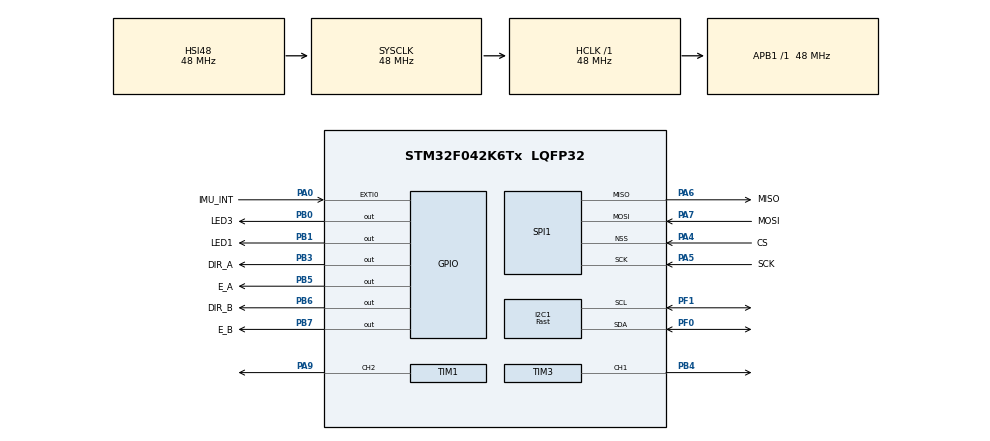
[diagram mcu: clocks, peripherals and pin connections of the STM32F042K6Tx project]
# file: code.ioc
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I2C1.I2C_Speed_Mode=I2C_Fast
I2C1.Timing=0x0000020B
Mcu.Family=STM32F0
Mcu.Name=STM32F042K6Tx
Mcu.Package=LQFP32
NVIC.EXTI0_1_IRQn=true\:1\:0\:true\:false\:true
NVIC.PVD_VDDIO2_IRQn=true\:0\:0\:false\:false\:true
NVIC.SPI1_IRQn=true\:0\:0\:true\:false\:true
PA0.GPIO_Label=IMU_INT
PA0.Signal=GPXTI0
PA13.Mode=Serial_Wire
PA13.Signal=SYS_SWDIO
PA14.Mode=Serial_Wire
PA14.Signal=SYS_SWCLK
PA4.GPIO_Label=CS
PA4.GPIO_PuPd=GPIO_PULLUP
PA4.Mode=NSS_Signal_Hard_Input
PA4.Signal=SPI1_NSS
PA5.GPIO_Label=SCK
PA5.GPIO_PuPd=GPIO_PULLUP
PA5.Mode=Full_Duplex_Slave
PA5.Signal=SPI1_SCK
PA6.GPIO_Label=MISO
PA6.Mode=Full_Duplex_Slave
PA6.Signal=SPI1_MISO
PA7.GPIO_Label=MOSI
PA7.Mode=Full_Duplex_Slave
PA7.Signal=SPI1_MOSI
PA9.Signal=S_TIM1_CH2
PB0.GPIO_Label=LED3
PB0.Signal=GPIO_Output
PB1.GPIO_Label=LED1
PB1.Signal=GPIO_Output
PB3.GPIO_Label=DIR_A
PB3.Signal=GPIO_Output
PB4.Signal=S_TIM3_CH1
PB5.GPIO_Label=E_A
PB5.Signal=GPIO_Output
PB6.GPIO_Label=DIR_B
PB6.Signal=GPIO_Output
PB7.GPIO_Label=E_B
PB7.Signal=GPIO_Output
PF0-OSC_IN.GPIO_PuPdOD=GPIO_NOPULL
PF0-OSC_IN.Mode=I2C
PF0-OSC_IN.Signal=I2C1_SDA
PF1-OSC_OUT.GPIO_PuPdOD=GPIO_NOPULL
PF1-OSC_OUT.Mode=I2C
PF1-OSC_OUT.Signal=I2C1_SCL
ProjectManager.HeapSize=0x200
ProjectManager.StackSize=0x400
ProjectManager.TargetToolchain=MDK-ARM V5
RCC.AHBFreq_Value=48000000
RCC.APB1Freq_Value=48000000
RCC.APB1TimFreq_Value=48000000
RCC.HCLKFreq_Value=48000000
RCC.SYSCLKFreq_VALUE=48000000
RCC.SYSCLKSource=RCC_SYSCLKSOURCE_HSI48
SH.S_TIM1_CH2.0=TIM1_CH2,PWM Generation2 CH2
SH.S_TIM3_CH1.0=TIM3_CH1,PWM Generation1 CH1
SPI1.DataSize=SPI_DATASIZE_8BIT
SPI1.VirtualNSS=VM_NSSHARD
SPI1.VirtualType=VM_SLAVE
TIM1.Channel-PWM\ Generation2\ CH2=TIM_CHANNEL_2
board=code

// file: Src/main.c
/**
  ******************************************************************************
  * File Name          : main.c
  * Description        : Main program body
  ******************************************************************************
  *
  * COPYRIGHT(c) 2016 STMicroelectronics
  *
  * Redistribution and use in source and binary forms, with or without modification,
  * are permitted provided that the following conditions are met:
  *   1. Redistributions of source code must retain the above copyright notice,
  *      this list of conditions and the following disclaimer.
  *   2. Redistributions in binary form must reproduce the above copyright notice,
  *      this list of conditions and the following disclaimer in the documentation
  *      and/or other materials provided with the distribution.
  *   3. Neither the name of STMicroelectronics nor the names of its contributors
  *      may be used to endorse or promote products derived from this software
  *      without specific prior written permission.
  *
  * THIS SOFTWARE IS PROVIDED BY THE COPYRIGHT HOLDERS AND CONTRIBUTORS "AS IS"
  * AND ANY EXPRESS OR IMPLIED WARRANTIES, INCLUDING, BUT NOT LIMITED TO, THE
  * IMPLIED WARRANTIES OF MERCHANTABILITY AND FITNESS FOR A PARTICULAR PURPOSE ARE
  * DISCLAIMED. IN NO EVENT SHALL THE COPYRIGHT HOLDER OR CONTRIBUTORS BE LIABLE
  * FOR ANY DIRECT, INDIRECT, INCIDENTAL, SPECIAL, EXEMPLARY, OR CONSEQUENTIAL
  * DAMAGES (INCLUDING, BUT NOT LIMITED TO, PROCUREMENT OF SUBSTITUTE GOODS OR
  * SERVICES; LOSS OF USE, DATA, OR PROFITS; OR BUSINESS INTERRUPTION) HOWEVER
  * CAUSED AND ON ANY THEORY OF LIABILITY, WHETHER IN CONTRACT, STRICT LIABILITY,
  * OR TORT (INCLUDING NEGLIGENCE OR OTHERWISE) ARISING IN ANY WAY OUT OF THE USE
  * OF THIS SOFTWARE, EVEN IF ADVISED OF THE POSSIBILITY OF SUCH DAMAGE.
  *
  ******************************************************************************
  */
#include "stm32f0xx_hal.h"

/* USER CODE BEGIN Includes */
#define calibation_mode           0
#define stabilize_mode           	1
#define Function_1_mode           2
#define Function_2_mode           3
/* USER CODE END Includes */

I2C_HandleTypeDef hi2c1;

SPI_HandleTypeDef hspi1;

TIM_HandleTypeDef htim1;
TIM_HandleTypeDef htim3;

/* USER CODE BEGIN PV */
/* Private variables ---------------------------------------------------------*/
uint8_t _function1_lock = 0;
uint8_t _function2_lock = 0;
#include "bs_drone_lib.h"
/* USER CODE END PV */

void SystemClock_Config(void);
void Error_Handler(void);
static void MX_GPIO_Init(void);
static void MX_I2C1_Init(void);
static void MX_TIM1_Init(void);
static void MX_TIM3_Init(void);
static void MX_SPI1_Init(void);

void HAL_TIM_MspPostInit(TIM_HandleTypeDef *htim);

/* USER CODE BEGIN PFP */
/* Private function prototypes -----------------------------------------------*/
static void PWMControl(float set_motor1, float set_motor2);
/* USER CODE END PFP */

/* USER CODE BEGIN 0 */
uint32_t time;
uint16_t x = 100;
uint16_t y1 = 1000;
uint16_t y2 = 1000;
uint16_t y_b1 ;
uint16_t y_b2 ;
float errSum, dErr, error, lastErr;
float r_angle, f_angle, output_pid;
float LOutput, ROutput;
float butA_motor = 0;
float motor_1,motor_2;
float mun_ref_t=0;
/* USER CODE END 0 */

int main(void)
{

  /* MCU Configuration----------------------------------------------------------*/

  /* Reset of all peripherals, Initializes the Flash interface and the Systick. */
  HAL_Init();

  /* Configure the system clock */
  SystemClock_Config();

  /* Initialize all configured peripherals */
  MX_GPIO_Init();
  MX_I2C1_Init();
  MX_TIM1_Init();
  MX_TIM3_Init();
  MX_SPI1_Init();

  /* USER CODE BEGIN 2 */
	HAL_TIM_PWM_Start(&htim1,TIM_CHANNEL_2);
	HAL_TIM_PWM_Start(&htim3,TIM_CHANNEL_1);
	HAL_GPIO_WritePin(GPIOB,LED1_Pin,GPIO_PIN_RESET);
	TIM1-> PSC = x;
	TIM3-> PSC = x;
  /* USER CODE END 2 */

  /* Infinite loop */
  /* USER CODE BEGIN WHILE */
		Initial_MPU6050();
		HAL_Delay(10);
		HAL_NVIC_EnableIRQ(EXTI0_1_IRQn);
		HAL_SPI_Receive_IT(&hspi1, (uint8_t*)(spi_rx_data + spi_rx_data_index), 1);
	HAL_GPIO_WritePin(GPIOB,DIR_A_Pin,GPIO_PIN_RESET);
	HAL_GPIO_WritePin(GPIOB,E_A_Pin,GPIO_PIN_RESET);
	HAL_Delay(5000);
	uint32_t time_now = milli();
	uint32_t watchdog_time_prev = time_now;
  while (1)
  {

  /* USER CODE END WHILE */

  /* USER CODE BEGIN 3 */
				time_now = milli();

    if (time_now - watchdog_time_prev >= 100)
		{
			watchdog_time_prev = time_now;
			HAL_GPIO_TogglePin(GPIOA,LED3_Pin);
		}

		if (_Sampling_task_do != 0)
		{
			_Sampling_task_do = 0;
			Read_MPU6050();
			AHRS();
			PID_controller();
			if(abs_user(q_roll)<300){
				HAL_GPIO_WritePin(GPIOB,E_A_Pin,GPIO_PIN_RESET);
				HAL_GPIO_WritePin(GPIOB,E_B_Pin,GPIO_PIN_RESET);
				butA_motor = constrain((butA_motor + Del_roll * period_dt), -300, 300);
				if(abs_user(ch1)<10){
					ch1 = 0;
				}
				if(abs_user((float)ch2/4.00f)>1.0f){
					motor_1 =butA_motor-((float)ch1/3.0f);
					motor_2 =butA_motor+((float)ch1/3.0f);
				}else{
					motor_1 =butA_motor;
					motor_2 =butA_motor;
				}
				PWMControl(constrain(motor_1/100.00f,-5.0f,5.00f),constrain(motor_2/100.00f,-5.0f,5.0f));
			}else{
				HAL_GPIO_WritePin(GPIOB,E_A_Pin,GPIO_PIN_SET);
				HAL_GPIO_WritePin(GPIOB,E_B_Pin,GPIO_PIN_SET);
				PWMControl(0.0f,0.0f);
			}
		}

  }
  /* USER CODE END 3 */

}

/** System Clock Configuration
*/
void SystemClock_Config(void)
{

  RCC_OscInitTypeDef RCC_OscInitStruct;
  RCC_ClkInitTypeDef RCC_ClkInitStruct;
  RCC_PeriphCLKInitTypeDef PeriphClkInit;

  RCC_OscInitStruct.OscillatorType = RCC_OSCILLATORTYPE_HSI|RCC_OSCILLATORTYPE_HSI48;
  RCC_OscInitStruct.HSIState = RCC_HSI_ON;
  RCC_OscInitStruct.HSI48State = RCC_HSI48_ON;
  RCC_OscInitStruct.HSICalibrationValue = 16;
  RCC_OscInitStruct.PLL.PLLState = RCC_PLL_NONE;
  if (HAL_RCC_OscConfig(&RCC_OscInitStruct) != HAL_OK)
  {
    Error_Handler();
  }

  RCC_ClkInitStruct.ClockType = RCC_CLOCKTYPE_HCLK|RCC_CLOCKTYPE_SYSCLK
                              |RCC_CLOCKTYPE_PCLK1;
  RCC_ClkInitStruct.SYSCLKSource = RCC_SYSCLKSOURCE_HSI48;
  RCC_ClkInitStruct.AHBCLKDivider = RCC_SYSCLK_DIV1;
  RCC_ClkInitStruct.APB1CLKDivider = RCC_HCLK_DIV1;
  if (HAL_RCC_ClockConfig(&RCC_ClkInitStruct, FLASH_LATENCY_1) != HAL_OK)
  {
    Error_Handler();
  }

  PeriphClkInit.PeriphClockSelection = RCC_PERIPHCLK_I2C1;
  PeriphClkInit.I2c1ClockSelection = RCC_I2C1CLKSOURCE_HSI;
  if (HAL_RCCEx_PeriphCLKConfig(&PeriphClkInit) != HAL_OK)
  {
    Error_Handler();
  }

  HAL_SYSTICK_Config(HAL_RCC_GetHCLKFreq()/1000);

  HAL_SYSTICK_CLKSourceConfig(SYSTICK_CLKSOURCE_HCLK);

  /* SysTick_IRQn interrupt configuration */
  HAL_NVIC_SetPriority(SysTick_IRQn, 0, 0);
}

/* I2C1 init function */
static void MX_I2C1_Init(void)
{

  hi2c1.Instance = I2C1;
  hi2c1.Init.Timing = 0x0000020B;
  hi2c1.Init.OwnAddress1 = 0;
  hi2c1.Init.AddressingMode = I2C_ADDRESSINGMODE_7BIT;
  hi2c1.Init.DualAddressMode = I2C_DUALADDRESS_DISABLE;
  hi2c1.Init.OwnAddress2 = 0;
  hi2c1.Init.OwnAddress2Masks = I2C_OA2_NOMASK;
  hi2c1.Init.GeneralCallMode = I2C_GENERALCALL_DISABLE;
  hi2c1.Init.NoStretchMode = I2C_NOSTRETCH_DISABLE;
  if (HAL_I2C_Init(&hi2c1) != HAL_OK)
  {
    Error_Handler();
  }

    /**Configure Analogue filter
    */
  if (HAL_I2CEx_ConfigAnalogFilter(&hi2c1, I2C_ANALOGFILTER_ENABLE) != HAL_OK)
  {
    Error_Handler();
  }

}

/* SPI1 init function */
static void MX_SPI1_Init(void)
{

  hspi1.Instance = SPI1;
  hspi1.Init.Mode = SPI_MODE_SLAVE;
  hspi1.Init.Direction = SPI_DIRECTION_2LINES;
  hspi1.Init.DataSize = SPI_DATASIZE_8BIT;
  hspi1.Init.CLKPolarity = SPI_POLARITY_LOW;
  hspi1.Init.CLKPhase = SPI_PHASE_1EDGE;
  hspi1.Init.NSS = SPI_NSS_HARD_INPUT;
  hspi1.Init.FirstBit = SPI_FIRSTBIT_MSB;
  hspi1.Init.TIMode = SPI_TIMODE_DISABLE;
  hspi1.Init.CRCCalculation = SPI_CRCCALCULATION_DISABLE;
  hspi1.Init.CRCPolynomial = 7;
  hspi1.Init.CRCLength = SPI_CRC_LENGTH_DATASIZE;
  hspi1.Init.NSSPMode = SPI_NSS_PULSE_DISABLE;
  if (HAL_SPI_Init(&hspi1) != HAL_OK)
  {
    Error_Handler();
  }

}

/* TIM1 init function */
static void MX_TIM1_Init(void)
{

  TIM_MasterConfigTypeDef sMasterConfig;
  TIM_BreakDeadTimeConfigTypeDef sBreakDeadTimeConfig;
  TIM_OC_InitTypeDef sConfigOC;

  htim1.Instance = TIM1;
  htim1.Init.Prescaler = 0;
  htim1.Init.CounterMode = TIM_COUNTERMODE_UP;
  htim1.Init.Period = 0;
  htim1.Init.ClockDivision = TIM_CLOCKDIVISION_DIV1;
  htim1.Init.RepetitionCounter = 0;
  if (HAL_TIM_PWM_Init(&htim1) != HAL_OK)
  {
    Error_Handler();
  }

  sMasterConfig.MasterOutputTrigger = TIM_TRGO_RESET;
  sMasterConfig.MasterSlaveMode = TIM_MASTERSLAVEMODE_DISABLE;
  if (HAL_TIMEx_MasterConfigSynchronization(&htim1, &sMasterConfig) != HAL_OK)
  {
    Error_Handler();
  }

  sBreakDeadTimeConfig.OffStateRunMode = TIM_OSSR_DISABLE;
  sBreakDeadTimeConfig.OffStateIDLEMode = TIM_OSSI_DISABLE;
  sBreakDeadTimeConfig.LockLevel = TIM_LOCKLEVEL_OFF;
  sBreakDeadTimeConfig.DeadTime = 0;
  sBreakDeadTimeConfig.BreakState = TIM_BREAK_DISABLE;
  sBreakDeadTimeConfig.BreakPolarity = TIM_BREAKPOLARITY_HIGH;
  sBreakDeadTimeConfig.AutomaticOutput = TIM_AUTOMATICOUTPUT_DISABLE;
  if (HAL_TIMEx_ConfigBreakDeadTime(&htim1, &sBreakDeadTimeConfig) != HAL_OK)
  {
    Error_Handler();
  }

  sConfigOC.OCMode = TIM_OCMODE_PWM1;
  sConfigOC.Pulse = 0;
  sConfigOC.OCPolarity = TIM_OCPOLARITY_HIGH;
  sConfigOC.OCNPolarity = TIM_OCNPOLARITY_HIGH;
  sConfigOC.OCFastMode = TIM_OCFAST_DISABLE;
  sConfigOC.OCIdleState = TIM_OCIDLESTATE_RESET;
  sConfigOC.OCNIdleState = TIM_OCNIDLESTATE_RESET;
  if (HAL_TIM_PWM_ConfigChannel(&htim1, &sConfigOC, TIM_CHANNEL_2) != HAL_OK)
  {
    Error_Handler();
  }

  HAL_TIM_MspPostInit(&htim1);

}

/* TIM3 init function */
static void MX_TIM3_Init(void)
{

  TIM_MasterConfigTypeDef sMasterConfig;
  TIM_OC_InitTypeDef sConfigOC;

  htim3.Instance = TIM3;
  htim3.Init.Prescaler = 0;
  htim3.Init.CounterMode = TIM_COUNTERMODE_UP;
  htim3.Init.Period = 0;
  htim3.Init.ClockDivision = TIM_CLOCKDIVISION_DIV1;
  if (HAL_TIM_PWM_Init(&htim3) != HAL_OK)
  {
    Error_Handler();
  }

  sMasterConfig.MasterOutputTrigger = TIM_TRGO_RESET;
  sMasterConfig.MasterSlaveMode = TIM_MASTERSLAVEMODE_DISABLE;
  if (HAL_TIMEx_MasterConfigSynchronization(&htim3, &sMasterConfig) != HAL_OK)
  {
    Error_Handler();
  }

  sConfigOC.OCMode = TIM_OCMODE_PWM1;
  sConfigOC.Pulse = 0;
  sConfigOC.OCPolarity = TIM_OCPOLARITY_HIGH;
  sConfigOC.OCFastMode = TIM_OCFAST_DISABLE;
  if (HAL_TIM_PWM_ConfigChannel(&htim3, &sConfigOC, TIM_CHANNEL_1) != HAL_OK)
  {
    Error_Handler();
  }

  HAL_TIM_MspPostInit(&htim3);

}

/** Configure pins as
        * Analog
        * Input
        * Output
        * EVENT_OUT
        * EXTI
*/
static void MX_GPIO_Init(void)
{

  GPIO_InitTypeDef GPIO_InitStruct;

  /* GPIO Ports Clock Enable */
  __HAL_RCC_GPIOF_CLK_ENABLE();
  __HAL_RCC_GPIOA_CLK_ENABLE();
  __HAL_RCC_GPIOB_CLK_ENABLE();

  /*Configure GPIO pin : IMU_INT_Pin */
  GPIO_InitStruct.Pin = IMU_INT_Pin;
  GPIO_InitStruct.Mode = GPIO_MODE_IT_RISING;
  GPIO_InitStruct.Pull = GPIO_NOPULL;
  HAL_GPIO_Init(IMU_INT_GPIO_Port, &GPIO_InitStruct);

  /*Configure GPIO pins : LED3_Pin LED1_Pin DIR_A_Pin E_A_Pin
                           DIR_B_Pin E_B_Pin */
  GPIO_InitStruct.Pin = LED3_Pin|LED1_Pin|DIR_A_Pin|E_A_Pin
                          |DIR_B_Pin|E_B_Pin;
  GPIO_InitStruct.Mode = GPIO_MODE_OUTPUT_PP;
  GPIO_InitStruct.Pull = GPIO_NOPULL;
  GPIO_InitStruct.Speed = GPIO_SPEED_FREQ_LOW;
  HAL_GPIO_Init(GPIOB, &GPIO_InitStruct);

  /*Configure GPIO pin Output Level */
  HAL_GPIO_WritePin(GPIOB, LED3_Pin|LED1_Pin|DIR_A_Pin|E_A_Pin
                          |DIR_B_Pin|E_B_Pin, GPIO_PIN_RESET);

  /* EXTI interrupt init*/
  HAL_NVIC_SetPriority(EXTI0_1_IRQn, 1, 0);
  HAL_NVIC_EnableIRQ(EXTI0_1_IRQn);

}

/* USER CODE BEGIN 4 */

static void PWMControl(float set_motor1, float set_motor2)
{

  if (set_motor1 > 0.0f)
  {
		y1 = (48000000/x)/(3200.00*set_motor1);
			if(y2 !=y_b2){
			TIM3-> CCR1 = y2/2;
			TIM3-> ARR = y2;
				if(TIM3-> CNT > TIM3-> ARR){
					TIM3-> CNT =0;
				}
				y_b2 =y2;
			}

    HAL_GPIO_WritePin(GPIOB,DIR_B_Pin,GPIO_PIN_SET);
  } else {

      y1 = -(48000000/x)/(3200.00*set_motor1);
			if(y2 !=y_b2){
			TIM3-> CCR1 = y2/2;
			TIM3-> ARR = y2;
				if(TIM3-> CNT > TIM3-> ARR){
					TIM3-> CNT =0;
				}
				y_b2 =y2;
			}
    HAL_GPIO_WritePin(GPIOB,DIR_B_Pin,GPIO_PIN_RESET);
		}
	if (set_motor2 > 0.0f)
  {
	y2 = (48000000/x)/(3200.00*set_motor2);

			if(y1 !=y_b1){
			TIM1-> CCR2 = y1/2;
			TIM1-> ARR = y1;
				if(TIM1-> CNT > TIM1-> ARR){
					TIM1-> CNT =0;
				}
				y_b1 =y1;
			}

    HAL_GPIO_WritePin(GPIOB,DIR_A_Pin,GPIO_PIN_SET);
  } else {

			y2 = -(48000000/x)/(3200.00*set_motor2);
			if(y1 !=y_b1){
			TIM1-> CCR2 = y1/2;
			TIM1-> ARR = y1;
				if(TIM1-> CNT > TIM1-> ARR){
					TIM1-> CNT =0;
				}
				y_b1 =y1;
			}

    HAL_GPIO_WritePin(GPIOB,DIR_A_Pin,GPIO_PIN_RESET);
		}
}

float limit(float input, int min_limit, int max_limit)
{
  if (input > max_limit)input = max_limit;
  if (input < min_limit)input = min_limit;
  return input;
}

/* USER CODE END 4 */

void Error_Handler(void)
{
  while(1)
  {
  }
}

/************************ (C) COPYRIGHT STMicroelectronics *****END OF FILE****/
